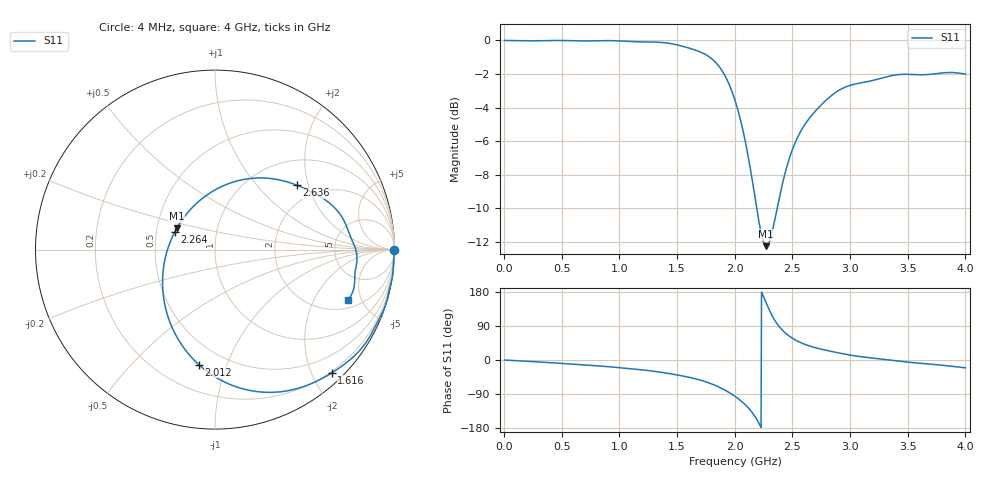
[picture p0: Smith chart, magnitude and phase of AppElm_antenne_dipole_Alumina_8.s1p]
! TOUCHSTONE file generated by CST MICROWAVE STUDIO
! Date and time: Sat May 14 11:42:17 2022
! Project name: AppElm_antenne_dipole_Alumina.cst
! Parameters = {L=36.3; e=0.035; f=2.45e+09; h=1.6; i=0.8; l1=2; lambda=122.449; ls=30; wl=1.7; ws=80}
! Header version: 2018
! Port assignment regex: !\s*Touchstone port\s*([0-9]+)\s*=\s*(CST MWS port|CST DS port)\s*([0-9]+|Zmin|Zmax)\s*\(\"(.*)\"\)(\s*mode\s*([0-9]+))?.*
! Touchstone port assignment:
! Touchstone port 1 = CST MWS port 1 ("")
# GHz S MA R 50
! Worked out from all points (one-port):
!   1000 points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, 4 MHz to 4 GHz, reference 50 ohm
!   lowest |S11| = -12.3 dB at 2.272 GHz (marker M1), VSWR 1.65, Z = 31.6 + j7.92 ohm
!   |S11| at or under -10 dB: 2.191 GHz to 2.367 GHz (176.7 MHz wide, 7.75 % of centre)
!   S11 on the Smith chart (normalised r, x): 4 MHz: open; 1.616 GHz: 0.18, -2.31; 2.012 GHz: 0.36, -0.80; 2.264 GHz: 0.62, +0.13; 2.636 GHz: 1.56, +1.69; 4 GHz: 2.57, -3.88
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0.004  1 -0.1
0.504  0.9997 -9.1
1.004  0.9965 -20.4
1.308  0.9889 -30.1
1.504  0.9694 -39.7
1.616  0.9461 -46.6
1.744  0.9089 -57.1
1.856  0.8436 -70.5
1.932  0.7651 -82.4
2.004  0.6603 -96.3
2.012  0.6469 -98.1
2.084  0.5147 -116.0
2.144  0.398 -135.7
2.204  0.2963 -163.6
2.236  0.26 176.5
2.264  0.2451 156.9
2.272  0.244 151.1
2.312  0.2591 124.0
2.384  0.3372 88.6
2.44  0.4073 71.0
2.504  0.4776 56.7
2.636  0.5799 38.3
2.828  0.6807 23.3
3.004  0.7358 12.8
3.34  0.7831 0.2
3.504  0.7927 -5.6
3.836  0.8023 -15.0
4  0.7938 -20.6
